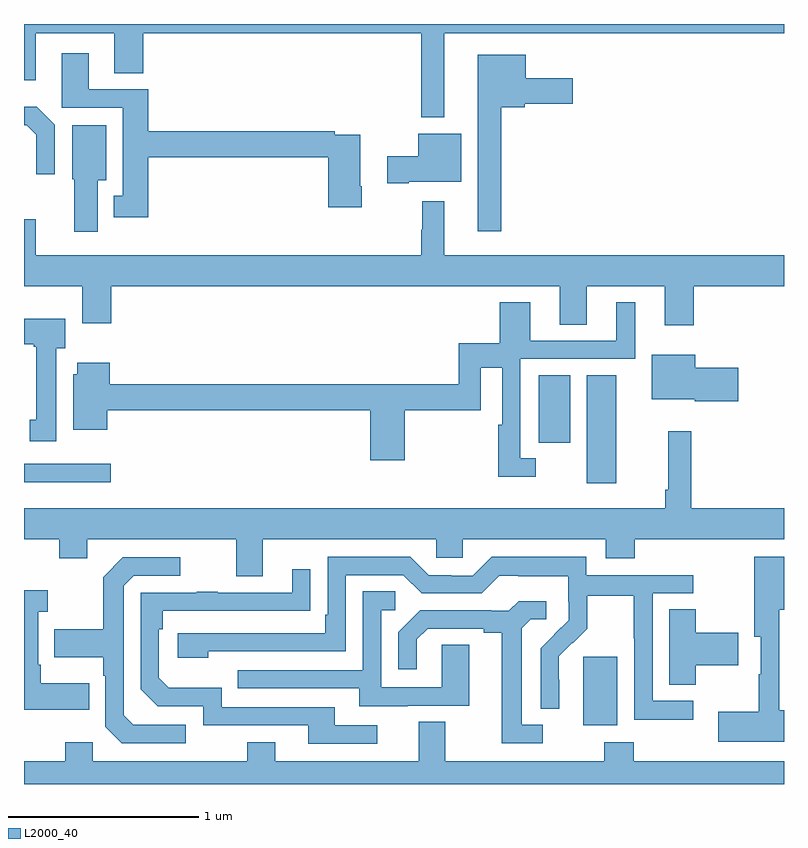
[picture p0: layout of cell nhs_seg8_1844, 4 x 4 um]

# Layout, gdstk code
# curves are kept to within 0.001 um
import gdstk
lib = gdstk.Library(unit=1e-6, precision=1e-09)
def R(c, l, rs):  # rectangles x0, y0, x1, y1
    for r in rs: c.add(gdstk.rectangle(r[:2], r[2:], *l))
def P(c, l, *ps):  # polygons
    for p in ps: c.add(gdstk.Polygon(p, *l))
L2000_40 = (2000, 40)

nhs_seg8_1844 = lib.new_cell('nhs_seg8_1844')
R(nhs_seg8_1844, L2000_40, [(231.944,1094.21,232.123,1094.571), (231.962,1095.483,232.117,1096.052), (229,1095.488,229.456,1095.585), (231.71,1095.696,231.874,1096.052)])
P(nhs_seg8_1844, L2000_40, [(231.211,1097.852),(233,1097.852),(233,1097.9),(229,1097.9),(229,1097.604),(229.063,1097.604),(229.063,1097.852),(229.475,1097.852),(229.475,1097.641),(229.628,1097.641),(229.628,1097.852),(231.09,1097.852),(231.09,1097.408),(231.211,1097.408)],
  [(229.655,1097.2),(230.6,1097.2),(230.6,1096.935),(230.778,1096.935),(230.778,1097.047),(230.77,1097.047),(230.77,1097.316),(230.636,1097.316),(230.636,1097.336),(229.655,1097.336),(229.655,1097.556),(229.342,1097.556),(229.342,1097.746),(229.199,1097.746),(229.199,1097.46),(229.52,1097.46),(229.52,1096.997),(229.472,1096.997),(229.472,1096.884),(229.655,1096.884)],
  [(231.511,1097.462),(231.636,1097.462),(231.636,1097.48),(231.889,1097.48),(231.889,1097.614),(231.64,1097.614),(231.64,1097.737),(231.389,1097.737),(231.389,1096.809),(231.511,1096.809)],
  [(229.161,1097.37),(229.067,1097.464),(229,1097.464),(229,1097.367),(229.014,1097.367),(229.065,1097.316),(229.065,1097.109),(229.161,1097.109)],
  [(229.387,1097.078),(229.432,1097.078),(229.432,1097.368),(229.253,1097.368),(229.253,1097.082),(229.265,1097.082),(229.265,1096.806),(229.387,1096.806)],
  [(231.025,1097.069),(231.301,1097.069),(231.301,1097.323),(231.074,1097.323),(231.074,1097.204),(230.913,1097.204),(230.913,1097.062),(231.025,1097.062)],
  [(232.526,1096.52),(233,1096.52),(233,1096.684),(231.211,1096.684),(231.211,1096.966),(231.097,1096.966),(231.097,1096.817),(231.09,1096.817),(231.09,1096.684),(229.063,1096.684),(229.063,1096.872),(229,1096.872),(229,1096.52),(229.307,1096.52),(229.307,1096.326),(229.46,1096.326),(229.46,1096.52),(231.821,1096.52),(231.821,1096.318),(231.961,1096.318),(231.961,1096.52),(232.373,1096.52),(232.373,1096.314),(232.526,1096.314)],
  [(231.694,1095.615),(231.612,1095.615),(231.612,1096.137),(232.216,1096.137),(232.216,1096.435),(232.118,1096.435),(232.118,1096.233),(231.664,1096.233),(231.664,1096.435),(231.503,1096.435),(231.503,1096.219),(231.289,1096.219),(231.289,1096.004),(229.451,1096.004),(229.451,1096.117),(229.28,1096.117),(229.28,1096.056),(229.259,1096.056),(229.259,1095.764),(229.438,1095.764),(229.438,1095.868),(230.822,1095.868),(230.822,1095.603),(231.005,1095.603),(231.005,1095.868),(231.405,1095.868),(231.405,1096.09),(231.516,1096.09),(231.516,1095.791),(231.496,1095.791),(231.496,1095.518),(231.694,1095.518)],
  [(229.171,1096.194),(229.216,1096.194),(229.216,1096.348),(229,1096.348),(229,1096.214),(229.051,1096.214),(229.051,1096.201),(229.064,1096.201),(229.064,1095.818),(229.031,1095.818),(229.031,1095.705),(229.171,1095.705)],
  [(232.759,1096.092),(232.534,1096.092),(232.534,1096.159),(232.304,1096.159),(232.304,1095.926),(232.53,1095.926),(232.53,1095.914),(232.759,1095.914)],
  [(230.257,1095.188),(231.171,1095.188),(231.171,1095.09),(231.309,1095.09),(231.309,1095.188),(232.061,1095.188),(232.061,1095.089),(232.214,1095.089),(232.214,1095.188),(233,1095.188),(233,1095.352),(232.511,1095.352),(232.511,1095.757),(232.39,1095.757),(232.39,1095.448),(232.375,1095.448),(232.375,1095.352),(229,1095.352),(229,1095.188),(229.186,1095.188),(229.186,1095.089),(229.333,1095.089),(229.333,1095.188),(230.117,1095.188),(230.117,1094.994),(230.257,1094.994)],
  [(232.522,1094.337),(232.308,1094.337),(232.308,1094.904),(232.522,1094.904),(232.522,1095),(231.96,1095),(231.96,1095.097),(231.463,1095.097),(231.363,1094.997),(231.248,1094.997),(231.248,1095),(231.129,1095),(231.033,1095.096),(230.598,1095.096),(230.598,1094.791),(230.585,1094.791),(230.585,1094.694),(229.809,1094.694),(229.809,1094.564),(229.97,1094.564),(229.97,1094.598),(230.694,1094.598),(230.694,1095),(230.997,1095),(231.093,1094.904),(231.408,1094.904),(231.501,1094.997),(231.601,1094.997),(231.601,1094.993),(231.864,1094.993),(231.864,1094.859),(231.866,1094.859),(231.866,1094.762),(231.72,1094.614),(231.72,1094.296),(231.816,1094.296),(231.815,1094.573),(231.885,1094.643),(231.888,1094.64),(231.965,1094.717),(231.965,1094.892),(232.21,1094.892),(232.21,1094.668),(232.212,1094.668),(232.212,1094.239),(232.522,1094.239)],
  [(233,1094.289),(232.974,1094.289),(232.974,1094.817),(233,1094.817),(233,1095.097),(232.844,1095.097),(232.844,1094.675),(232.878,1094.675),(232.878,1094.478),(232.866,1094.478),(232.866,1094.281),(232.653,1094.281),(232.653,1094.123),(233,1094.123)],
  [(229.852,1094.211),(229.575,1094.211),(229.524,1094.262),(229.524,1094.943),(229.578,1094.997),(229.822,1094.997),(229.822,1095.093),(229.521,1095.093),(229.416,1094.987),(229.416,1094.715),(229.159,1094.715),(229.159,1094.567),(229.416,1094.567),(229.416,1094.471),(229.428,1094.471),(229.428,1094.202),(229.515,1094.115),(229.852,1094.115)],
  [(230.86,1094.208),(230.635,1094.208),(230.635,1094.304),(230.04,1094.304),(230.04,1094.407),(229.763,1094.407),(229.71,1094.46),(229.71,1094.714),(229.73,1094.714),(229.73,1094.811),(230.507,1094.812),(230.507,1095.031),(230.411,1095.031),(230.411,1094.907),(230.021,1094.907),(230.021,1094.912),(229.909,1094.912),(229.909,1094.907),(229.614,1094.907),(229.614,1094.4),(229.704,1094.31),(229.944,1094.31),(229.944,1094.208),(230.495,1094.208),(230.495,1094.112),(230.86,1094.112)],
  [(229.343,1094.431),(229.087,1094.431),(229.087,1094.527),(229.074,1094.527),(229.074,1094.807),(229.126,1094.807),(229.126,1094.92),(229,1094.92),(229,1094.291),(229.343,1094.291)],
  [(231.019,1094.313),(231.343,1094.313),(231.343,1094.633),(231.198,1094.633),(231.198,1094.409),(230.88,1094.409),(230.88,1094.814),(230.953,1094.814),(230.953,1094.915),(230.784,1094.915),(230.784,1094.499),(230.125,1094.499),(230.125,1094.403),(230.765,1094.403),(230.765,1094.309),(231.019,1094.309)],
  [(231.73,1094.211),(231.619,1094.211),(231.619,1094.719),(231.666,1094.766),(231.748,1094.766),(231.748,1094.863),(231.604,1094.863),(231.552,1094.811),(231.458,1094.811),(231.458,1094.814),(231.086,1094.814),(230.97,1094.698),(230.97,1094.505),(231.067,1094.505),(231.067,1094.661),(231.124,1094.718),(231.419,1094.718),(231.419,1094.696),(231.515,1094.696),(231.515,1094.115),(231.73,1094.115)],
  [(232.536,1094.525),(232.759,1094.525),(232.759,1094.696),(232.536,1094.696),(232.536,1094.819),(232.397,1094.819),(232.397,1094.422),(232.536,1094.422)],
  [(233,1094.02),(232.209,1094.02),(232.209,1094.119),(232.054,1094.119),(232.054,1094.02),(231.217,1094.02),(231.217,1094.228),(231.077,1094.228),(231.077,1094.02),(230.323,1094.02),(230.323,1094.119),(230.176,1094.119),(230.176,1094.02),(229.362,1094.02),(229.362,1094.119),(229.216,1094.119),(229.216,1094.02),(229,1094.02),(229,1093.9),(233,1093.9)])

lib.write_gds('nhs_seg8_1844.gds')
